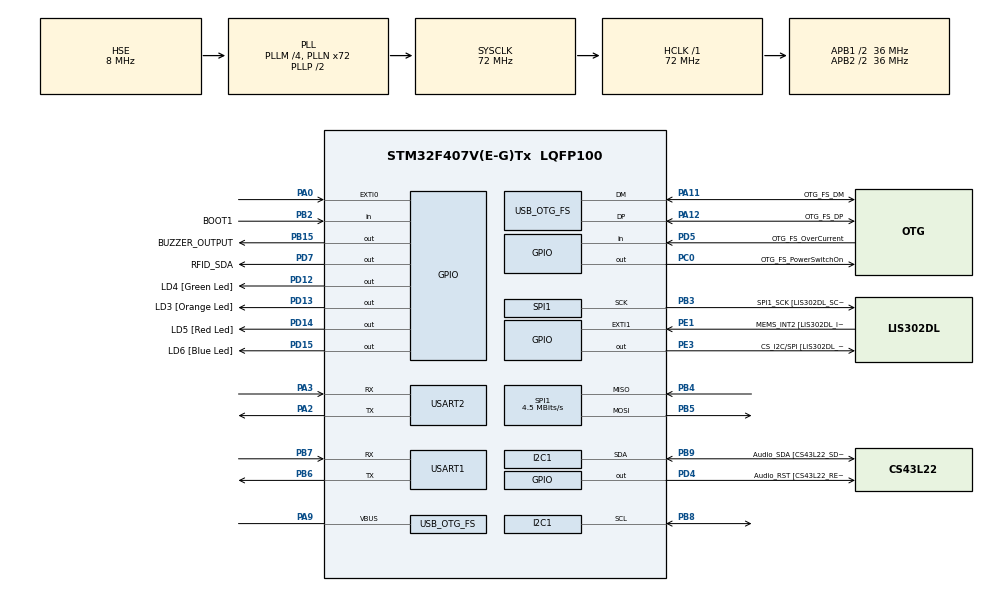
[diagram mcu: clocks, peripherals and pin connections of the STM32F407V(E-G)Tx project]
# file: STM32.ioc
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Mcu.Family=STM32F4
Mcu.Name=STM32F407V(E-G)Tx
Mcu.Package=LQFP100
NVIC.EXTI0_IRQn=true\:0\:0\:false\:false\:true\:true\:true\:true
NVIC.OTG_FS_IRQn=true\:0\:0\:false\:false\:true\:true\:true\:true
NVIC.PriorityGroup=NVIC_PRIORITYGROUP_0
NVIC.USART2_IRQn=true\:0\:0\:false\:false\:true\:true\:true\:true
PA0-WKUP.Signal=GPXTI0
PA11.GPIO_Label=OTG_FS_DM
PA11.GPIO_Mode=GPIO_MODE_AF_PP
PA11.GPIO_PuPd=GPIO_NOPULL
PA11.GPIO_Speed=GPIO_SPEED_FREQ_LOW
PA11.Mode=Host_Only
PA11.Signal=USB_OTG_FS_DM
PA12.GPIO_Label=OTG_FS_DP
PA12.GPIO_Mode=GPIO_MODE_AF_PP
PA12.GPIO_PuPd=GPIO_NOPULL
PA12.GPIO_Speed=GPIO_SPEED_FREQ_LOW
PA12.Mode=Host_Only
PA12.Signal=USB_OTG_FS_DP
PA13.GPIO_Label=SWDIO
PA13.Mode=Serial_Wire
PA13.Signal=SYS_JTMS-SWDIO
PA14.GPIO_Label=SWCLK
PA14.Mode=Serial_Wire
PA14.Signal=SYS_JTCK-SWCLK
PA2.Mode=Asynchronous
PA2.Signal=USART2_TX
PA3.Mode=Asynchronous
PA3.Signal=USART2_RX
PA4.GPIO_Label=I2S3_WS [CS43L22_LRCK]
PA4.GPIO_Mode=GPIO_MODE_AF_PP
PA4.GPIO_PuPd=GPIO_NOPULL
PA4.GPIO_Speed=GPIO_SPEED_FREQ_LOW
PA4.Signal=I2S3_WS
PA9.Mode=Activate_VBUS
PA9.Signal=USB_OTG_FS_VBUS
PB10.GPIO_Label=CLK_IN [MP45DT02_CLK]
PB10.GPIO_Mode=GPIO_MODE_AF_PP
PB10.GPIO_PuPd=GPIO_NOPULL
PB10.GPIO_Speed=GPIO_SPEED_FREQ_LOW
PB10.Signal=I2S2_CK
PB15.GPIO_Label=BUZZER_OUTPUT
PB15.Signal=GPIO_Output
PB2.GPIO_Label=BOOT1
PB2.GPIO_Mode=GPIO_MODE_INPUT
PB2.GPIO_PuPd=GPIO_NOPULL
PB2.Signal=GPIO_Input
PB3.GPIO_Label=SPI1_SCK [LIS302DL_SCL/SPC]
PB3.GPIO_Mode=GPIO_MODE_AF_PP
PB3.GPIO_PuPd=GPIO_NOPULL
PB3.GPIO_Speed=GPIO_SPEED_FREQ_LOW
PB3.Mode=Full_Duplex_Master
PB3.Signal=SPI1_SCK
PB4.Mode=Full_Duplex_Master
PB4.Signal=SPI1_MISO
PB5.Mode=Full_Duplex_Master
PB5.Signal=SPI1_MOSI
PB6.Mode=Asynchronous
PB6.Signal=USART1_TX
PB7.Mode=Asynchronous
PB7.Signal=USART1_RX
PB8.Mode=I2C
PB8.Signal=I2C1_SCL
PB9.GPIO_Label=Audio_SDA [CS43L22_SDA]
PB9.GPIO_Mode=GPIO_MODE_AF_OD
PB9.GPIO_Pu=GPIO_PULLUP
PB9.GPIO_PuPd=GPIO_NOPULL
PB9.GPIO_Speed=GPIO_SPEED_FREQ_LOW
PB9.Mode=I2C
PB9.Signal=I2C1_SDA
PC0.GPIO_Label=OTG_FS_PowerSwitchOn
PC0.GPIO_PuPd=GPIO_NOPULL
PC0.GPIO_Speed=GPIO_SPEED_FREQ_LOW
PC0.PinState=GPIO_PIN_SET
PC0.Signal=GPIO_Output
PC10.GPIO_Label=I2S3_SCK [CS43L22_SCLK]
PC10.GPIO_Mode=GPIO_MODE_AF_PP
PC10.GPIO_PuPd=GPIO_NOPULL
PC10.GPIO_Speed=GPIO_SPEED_FREQ_LOW
PC10.Signal=I2S3_CK
PC12.GPIO_Label=I2S3_SD [CS43L22_SDIN]
PC12.GPIO_Mode=GPIO_MODE_AF_PP
PC12.GPIO_PuPd=GPIO_NOPULL
PC12.GPIO_Speed=GPIO_SPEED_FREQ_LOW
PC12.Signal=I2S3_SD
PC14-OSC32_IN.GPIO_Label=PC14-OSC32_IN
PC14-OSC32_IN.Signal=RCC_OSC32_IN
PC15-OSC32_OUT.GPIO_Label=PC15-OSC32_OUT
PC15-OSC32_OUT.Signal=RCC_OSC32_OUT
PC3.GPIO_Label=PDM_OUT [MP45DT02_DOUT]
PC3.GPIO_Mode=GPIO_MODE_AF_PP
PC3.GPIO_PuPd=GPIO_NOPULL
PC3.GPIO_Speed=GPIO_SPEED_FREQ_LOW
PC3.Signal=I2S2_SD
PC7.GPIO_Label=I2S3_MCK [CS43L22_MCLK]
PC7.GPIO_Mode=GPIO_MODE_AF_PP
PC7.GPIO_PuPd=GPIO_NOPULL
PC7.GPIO_Speed=GPIO_SPEED_FREQ_LOW
PC7.Signal=I2S3_MCK
PD12.GPIO_Label=LD4 [Green Led]
PD12.GPIO_PuPd=GPIO_NOPULL
PD12.GPIO_Speed=GPIO_SPEED_FREQ_LOW
PD12.Signal=GPIO_Output
PD13.GPIO_Label=LD3 [Orange Led]
PD13.GPIO_PuPd=GPIO_NOPULL
PD13.GPIO_Speed=GPIO_SPEED_FREQ_LOW
PD13.Signal=GPIO_Output
PD14.GPIO_Label=LD5 [Red Led]
PD14.GPIO_PuPd=GPIO_NOPULL
PD14.GPIO_Speed=GPIO_SPEED_FREQ_LOW
PD14.Signal=GPIO_Output
PD15.GPIO_Label=LD6 [Blue Led]
PD15.GPIO_PuPd=GPIO_NOPULL
PD15.GPIO_Speed=GPIO_SPEED_FREQ_LOW
PD15.Signal=GPIO_Output
PD4.GPIO_Label=Audio_RST [CS43L22_RESET]
PD4.GPIO_PuPd=GPIO_NOPULL
PD4.GPIO_Speed=GPIO_SPEED_FREQ_LOW
PD4.Signal=GPIO_Output
PD5.GPIO_Label=OTG_FS_OverCurrent
PD5.GPIO_Mode=GPIO_MODE_INPUT
PD5.GPIO_PuPd=GPIO_NOPULL
PD5.Signal=GPIO_Input
PD7.GPIO_Label=RFID_SDA
PD7.Signal=GPIO_Output
PE1.GPIO_Label=MEMS_INT2 [LIS302DL_INT2]
PE1.GPIO_ModeDefaultEXTI=GPIO_MODE_EVT_RISING
PE1.GPIO_PuPd=GPIO_NOPULL
PE1.Signal=GPXTI1
PE3.GPIO_Label=CS_I2C/SPI [LIS302DL_CS_I2C/SPI]
PE3.GPIO_PuPd=GPIO_NOPULL
PE3.GPIO_Speed=GPIO_SPEED_FREQ_LOW
PE3.Signal=GPIO_Output
PH0-OSC_IN.GPIO_Label=PH0-OSC_IN
PH0-OSC_IN.Mode=HSE-External-Oscillator
PH0-OSC_IN.Signal=RCC_OSC_IN
PH1-OSC_OUT.GPIO_Label=PH1-OSC_OUT
PH1-OSC_OUT.Mode=HSE-External-Oscillator
PH1-OSC_OUT.Signal=RCC_OSC_OUT
ProjectManager.HeapSize=0x200
ProjectManager.StackSize=0x400
ProjectManager.TargetToolchain=STM32CubeIDE
RCC.48MHZClocksFreq_Value=48000000
RCC.AHBFreq_Value=72000000
RCC.APB1CLKDivider=RCC_HCLK_DIV2
RCC.APB1Freq_Value=36000000
RCC.APB1TimFreq_Value=72000000
RCC.APB2CLKDivider=RCC_HCLK_DIV2
RCC.APB2Freq_Value=36000000
RCC.APB2TimFreq_Value=72000000
RCC.CortexFreq_Value=72000000
RCC.HCLKFreq_Value=72000000
RCC.HSE_VALUE=8000000
RCC.HSI_VALUE=16000000
RCC.LSE_VALUE=32768
RCC.PLLI2SN=50
RCC.PLLM=4
RCC.PLLN=72
RCC.PLLQ=3
RCC.SYSCLKFreq_VALUE=72000000
RCC.SYSCLKSource=RCC_SYSCLKSOURCE_PLLCLK
RCC.VCOOutputFreq_Value=144000000
SPI1.BaudRatePrescaler=SPI_BAUDRATEPRESCALER_8
SPI1.CalculateBaudRate=4.5 MBits/s
SPI1.Direction=SPI_DIRECTION_2LINES
SPI1.Mode=SPI_MODE_MASTER
SPI1.VirtualType=VM_MASTER
USART1.VirtualMode=VM_ASYNC
USART2.VirtualMode=VM_ASYNC
USB_HOST.BSP.number=1
USB_HOST.USBH_HandleTypeDef-CDC_FS=hUsbHostFS
USB_HOST.VirtualModeFS=Cdc
USB_HOST0.BSP.STBoard=false
USB_HOST0.BSP.api=Unknown
USB_HOST0.BSP.instance=PC0
USB_HOST0.BSP.ip=GPIO
USB_HOST0.BSP.mode=Output
USB_HOST0.BSP.name=Drive_VBUS_FS
USB_HOST0.BSP.solution=PC0
USB_OTG_FS.VirtualMode=Host_Only
USB_OTG_FS.phy_itface=HCD_PHY_EMBEDDED
VP_USB_HOST_VS_USB_HOST_CDC_FS.Mode=CDC_FS
board=STM32F407G-DISC1

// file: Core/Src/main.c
/* USER CODE BEGIN Header */
/**
 * AURHOR: MERT ELDEMIR
 *
 * This software is licensed under terms that can be found in the LICENSE file
 * in the root directory of this software component.
 * If no LICENSE file comes with this software, it is provided AS-IS.
 *
 ******************************************************************************
 */
/* USER CODE END Header */
#include "main.h"
#include "usb_host.h"

/* USER CODE BEGIN Includes */
#include "stdio.h"
#include "string.h"

#include "defines.h"
#include "MFRC522.h"
#include "lcd_util.h"
#include "buzzer_util.h"

/* USER CODE END Includes */

I2C_HandleTypeDef hi2c1;

SPI_HandleTypeDef hspi1;

UART_HandleTypeDef huart1;
UART_HandleTypeDef huart2;

void SystemClock_Config(void);
static void MX_GPIO_Init(void);
static void MX_SPI1_Init(void);
static void MX_USART1_UART_Init(void);
static void MX_I2C1_Init(void);
static void MX_USART2_UART_Init(void);
void MX_USB_HOST_Process(void);

/* USER CODE BEGIN 0 */

// MFRC522 GLOBAL VARIABLES
MFRC522_Status_t status;
uint8_t CardUID[5];

uint8_t TempCardUID[4];
char TempCardHexStr[12];
char LastCardHexStr[12];

// RFID MODE & SERIAL STATUS settings

SERIAL_Status Serial_Status = SERIAL_PENDING;

char HEARTBEAT_CODE[] = "STM32PY"; // Serial AUTH code
uint32_t LastReceivedHbTime = 0;
uint32_t hbReceiveCount = 0;

// Serial Receive buffer settings
uint8_t rxByte;
uint8_t rxBuffer[MAX_RX_BUFFER_SIZE];
uint8_t rxIndex = 0;

// RFID MODULE SETTINGS
RFID_Mode Rfid_Mode = RFID_READ;
uint8_t isRfidModeBtnPressed = 0;

uint32_t lastLcdMessageTime = 0;
uint8_t isLcdResetted = 1;

// Buzzer States
uint8_t isBuzzerBeep = 0;
uint8_t isBuzzerSaveBeep = 0;
uint8_t isBuzzerNotFoundBeep = 0;

void ResetAllLedsSTM();
void SetRfidModeLED();

// PROGRAM SERIAL STATES
void SetSerialPengingState() {
	Serial_Status = SERIAL_PENDING;
	HAL_GPIO_WritePin(STM_LED_PORT, SERIAL_PENGING_LED_PIN, GPIO_PIN_SET);
	printSerialWaitingMessage();
}

void SetSerialErrorState() {
	Serial_Status = SERIAL_ERR;
	HAL_UART_AbortReceive_IT(&huart2);
	memset(LastCardHexStr, 0, sizeof(LastCardHexStr));
	memset(rxBuffer, 0, sizeof(rxBuffer));
	ResetAllLedsSTM();
	HAL_GPIO_WritePin(STM_LED_PORT, SERIAL_ERR_LED_PIN, GPIO_PIN_SET);
	printSerialErrorMessage();
	SerialErrBeep();
}

void SetSerialOkayState() {
	Serial_Status = SERIAL_OK;
	ResetAllLedsSTM();
	SetRfidModeLED();
	printRfidModeMessage(Rfid_Mode);
	SerialOkBeep();
}

void WaitStartupHeartbeatSerial() {
	uint32_t startTime = HAL_GetTick();
	uint8_t remainingSec = 9;

	while ((HAL_GetTick() - startTime) < 10000) {
		if (HAL_UART_Receive(&huart2, rxBuffer, 10, 100) == HAL_OK) {
			// HB received
			char *msg = (char*) &rxBuffer[2];
			char *newline = strchr(msg, '\n');
			if (newline) {
				*newline = '\0';
			}

			if (strcmp(msg, HEARTBEAT_CODE) == 0) {
				LastReceivedHbTime = HAL_GetTick();
				++hbReceiveCount;
				SetSerialOkayState();
				memset(rxBuffer, 0, sizeof(rxBuffer));
				return;
			}
		}

		printSerialWaitingTimer(remainingSec);
		remainingSec = 9 - ((HAL_GetTick() - startTime) / 1000);
	}

	// No HB found
	SetSerialErrorState();
}

// RFID Mode Operations
void SetRfidModeLED() {
	if (Rfid_Mode == RFID_SAVE) {
		HAL_GPIO_WritePin(STM_LED_PORT, RFID_SAVE_LED_PIN, GPIO_PIN_SET);
	} else if (Rfid_Mode == RFID_READ) {
		HAL_GPIO_WritePin(STM_LED_PORT, RFID_READ_LED_PIN, GPIO_PIN_SET);
	}
}

void ResetAllLedsSTM() {
	HAL_GPIO_WritePin(STM_LED_PORT, RFID_READ_LED_PIN, GPIO_PIN_RESET);
	HAL_GPIO_WritePin(STM_LED_PORT, RFID_SAVE_LED_PIN, GPIO_PIN_RESET);
	HAL_GPIO_WritePin(STM_LED_PORT, SERIAL_PENGING_LED_PIN, GPIO_PIN_RESET);
	HAL_GPIO_WritePin(STM_LED_PORT, SERIAL_ERR_LED_PIN, GPIO_PIN_RESET);
}

void ToggleRfidMode() {
	if (Serial_Status != SERIAL_OK) {
		return;
	}

	Rfid_Mode = (Rfid_Mode + 1) % 2;
	ResetAllLedsSTM();
	SetRfidModeLED();
}

// Interrupt Callbacks

// Blue button push
void HAL_GPIO_EXTI_Callback(uint16_t GPIO_Pin) {
	if (GPIO_Pin == GPIO_PIN_0 && Serial_Status == SERIAL_OK) {
		ToggleRfidMode();
		printRfidModeMessage(Rfid_Mode);
		isRfidModeBtnPressed = 1;
	}
}

// Serial messages & responses
void HAL_UART_RxCpltCallback(UART_HandleTypeDef *huart) {
	if (huart->Instance == USART2) {
		if (rxByte != '\n' && rxIndex < MAX_RX_BUFFER_SIZE - 1) {
			rxBuffer[rxIndex++] = rxByte;
		} else {
			// Null-terminate the message
			rxBuffer[rxIndex] = '\0';
			rxIndex = 0;

			// Check message format: CODE|DATA\0
			if (rxBuffer[1] != '|') {
				// Invalid format
				HAL_UART_Receive_IT(&huart2, &rxByte, 1);
				return;
			}

			char code = rxBuffer[0];
			char *msg = (char*) &rxBuffer[2];

			switch (code) {
			case 'H':
				if (strcmp(msg, HEARTBEAT_CODE) == 0) {
					LastReceivedHbTime = HAL_GetTick();
					++hbReceiveCount;
					printf("msg: %s\n", msg);
				}
				break;

			case 'R':
				if (strcmp(msg, "ERR") == 0) {
					printUserNotFound();
					isBuzzerNotFoundBeep = 1;
				} else {
					printSerialReadResponse(msg);
					isBuzzerBeep = 1;
				}

				isLcdResetted = 0;
				lastLcdMessageTime = HAL_GetTick();
				break;

			case 'S':
				if (strcmp(msg, "OK") == 0) {
					printSerialSavedUID(TempCardHexStr);
					isBuzzerSaveBeep = 1;
				} else if (strcmp(msg, "DUP") == 0) {
					printDuplicateSave();
					isBuzzerNotFoundBeep = 1;
				} else {
					printSavingWentWrong();
				}

				isLcdResetted = 0;
				lastLcdMessageTime = HAL_GetTick();
				break;
			}

			memset(rxBuffer, 0, 32);
		}

		// interrupt for next byte
		HAL_UART_Receive_IT(&huart2, &rxByte, 1);
	}
}

/* USER CODE END 0 */

int main(void) {

	/* MCU Configuration--------------------------------------------------------*/

	/* Reset of all peripherals, Initializes the Flash interface and the Systick. */
	HAL_Init();

	/* Configure the system clock */
	SystemClock_Config();

	/* Initialize all configured peripherals */
	MX_GPIO_Init();
	MX_SPI1_Init();
	MX_USB_HOST_Init();
	MX_USART1_UART_Init();
	MX_I2C1_Init();
	MX_USART2_UART_Init();
	/* USER CODE BEGIN 2 */
	HAL_UART_Init(&huart2);
	MFRC522_Init(); 		// RFID Module
	lcd_init(); 			// LCD Module

// FIRST STARTUP FUNCTIONS
	printWelcomeMessage();
	HAL_Delay(2000);

// start Heartbeat receive handler before run the main program
	SetSerialPengingState();
	WaitStartupHeartbeatSerial();

	HAL_UART_Receive_IT(&huart2, rxBuffer, 1);

// e.g. str = 1 D6 97 71 AF rfidModePrefix = "1" -> SAVE
// e.g. str = 0 D6 97 71 AF rfidModePrefix = "0" -> READ
	char SerialSendStr[14];
	char rfidModePrefix[2]; // "1 " -> SAVE | "0 " -> READ

	/* USER CODE END 2 */

	/* Infinite loop */
	/* USER CODE BEGIN WHILE */
	while (1) {
		// STATE CONTROLS

		// Buzzer sound states
		if (isBuzzerBeep) {
			Beep();
			isBuzzerBeep = 0;
		} else if (isBuzzerNotFoundBeep) {
			UserNotFoundBeep();
			isBuzzerNotFoundBeep = 0;
		} else if (isBuzzerSaveBeep) {
			UserSavedBeep();
			isBuzzerSaveBeep = 0;
		}

		if (Serial_Status != SERIAL_OK) {
			HAL_GPIO_TogglePin(STM_LED_PORT, SERIAL_ERR_LED_PIN);
			HAL_Delay(300);
			continue;
		}

		// chech Heartbeat
		if ((HAL_GetTick() - LastReceivedHbTime) > HEARTBEAT_TIMEOUT_MS) {
			SetSerialErrorState();
			continue;
		}

		// Reset LCD
		if (isLcdResetted
				!= 1&& (HAL_GetTick() - lastLcdMessageTime) > LCD_MESSAGE_TIME_MS) {
			printRfidModeMessage(Rfid_Mode);
			isLcdResetted = 1;
		}

		if (isRfidModeBtnPressed == 1) {
			memset(LastCardHexStr, 0, sizeof(LastCardHexStr)); // Reset last read UID
			Beep();
			HAL_Delay(200);
			isRfidModeBtnPressed = 0;
		}

		// MAIN RFID LOGIC

		// Check if card is presented
		if (MFRC522_Check(CardUID) == MI_OK) {
			memcpy(TempCardUID, CardUID, 4);

			snprintf(TempCardHexStr, sizeof(TempCardHexStr),
					"%02X %02X %02X %02X", TempCardUID[0], TempCardUID[1],
					TempCardUID[2], TempCardUID[3]);

			// if new card not detected
			if (strcmp(LastCardHexStr, TempCardHexStr) == 0) {
				continue;
			}

			strcpy(LastCardHexStr, TempCardHexStr);

			// prepare string to send via UART
			if (Rfid_Mode == RFID_READ) {
				rfidModePrefix[0] = '0';
			} else if (Rfid_Mode == RFID_SAVE) {
				rfidModePrefix[0] = '1';
			}
			rfidModePrefix[1] = ' ';

			snprintf(SerialSendStr, sizeof(SerialSendStr), "%s%s",
					rfidModePrefix, TempCardHexStr);

			HAL_UART_Transmit(&huart2, (uint8_t*) SerialSendStr,
					strlen(SerialSendStr), 100);

			// lcd_clear();
			// lcd_put_cur(0, 0);
			// lcd_send_string("CARD UID:");
			// lcd_put_cur(1, 0);
			// lcd_send_string(TempCardHexStr);
		}

		/* USER CODE END WHILE */
		MX_USB_HOST_Process();

	}
}

void SystemClock_Config(void) {
	RCC_OscInitTypeDef RCC_OscInitStruct = { 0 };
	RCC_ClkInitTypeDef RCC_ClkInitStruct = { 0 };

	/** Configure the main internal regulator output voltage
	 */
	__HAL_RCC_PWR_CLK_ENABLE();
	__HAL_PWR_VOLTAGESCALING_CONFIG(PWR_REGULATOR_VOLTAGE_SCALE1);

	/** Initializes the RCC Oscillators according to the specified parameters
	 * in the RCC_OscInitTypeDef structure.
	 */
	RCC_OscInitStruct.OscillatorType = RCC_OSCILLATORTYPE_HSE;
	RCC_OscInitStruct.HSEState = RCC_HSE_ON;
	RCC_OscInitStruct.PLL.PLLState = RCC_PLL_ON;
	RCC_OscInitStruct.PLL.PLLSource = RCC_PLLSOURCE_HSE;
	RCC_OscInitStruct.PLL.PLLM = 4;
	RCC_OscInitStruct.PLL.PLLN = 72;
	RCC_OscInitStruct.PLL.PLLP = RCC_PLLP_DIV2;
	RCC_OscInitStruct.PLL.PLLQ = 3;
	if (HAL_RCC_OscConfig(&RCC_OscInitStruct) != HAL_OK) {
		Error_Handler();
	}

	/** Initializes the CPU, AHB and APB buses clocks
	 */
	RCC_ClkInitStruct.ClockType = RCC_CLOCKTYPE_HCLK | RCC_CLOCKTYPE_SYSCLK
			| RCC_CLOCKTYPE_PCLK1 | RCC_CLOCKTYPE_PCLK2;
	RCC_ClkInitStruct.SYSCLKSource = RCC_SYSCLKSOURCE_PLLCLK;
	RCC_ClkInitStruct.AHBCLKDivider = RCC_SYSCLK_DIV1;
	RCC_ClkInitStruct.APB1CLKDivider = RCC_HCLK_DIV2;
	RCC_ClkInitStruct.APB2CLKDivider = RCC_HCLK_DIV2;

	if (HAL_RCC_ClockConfig(&RCC_ClkInitStruct, FLASH_LATENCY_2) != HAL_OK) {
		Error_Handler();
	}
}

static void MX_I2C1_Init(void) {

	hi2c1.Instance = I2C1;
	hi2c1.Init.ClockSpeed = 100000;
	hi2c1.Init.DutyCycle = I2C_DUTYCYCLE_2;
	hi2c1.Init.OwnAddress1 = 0;
	hi2c1.Init.AddressingMode = I2C_ADDRESSINGMODE_7BIT;
	hi2c1.Init.DualAddressMode = I2C_DUALADDRESS_DISABLE;
	hi2c1.Init.OwnAddress2 = 0;
	hi2c1.Init.GeneralCallMode = I2C_GENERALCALL_DISABLE;
	hi2c1.Init.NoStretchMode = I2C_NOSTRETCH_DISABLE;
	if (HAL_I2C_Init(&hi2c1) != HAL_OK) {
		Error_Handler();
	}

}

static void MX_SPI1_Init(void) {

	/* SPI1 parameter configuration*/
	hspi1.Instance = SPI1;
	hspi1.Init.Mode = SPI_MODE_MASTER;
	hspi1.Init.Direction = SPI_DIRECTION_2LINES;
	hspi1.Init.DataSize = SPI_DATASIZE_8BIT;
	hspi1.Init.CLKPolarity = SPI_POLARITY_LOW;
	hspi1.Init.CLKPhase = SPI_PHASE_1EDGE;
	hspi1.Init.NSS = SPI_NSS_SOFT;
	hspi1.Init.BaudRatePrescaler = SPI_BAUDRATEPRESCALER_8;
	hspi1.Init.FirstBit = SPI_FIRSTBIT_MSB;
	hspi1.Init.TIMode = SPI_TIMODE_DISABLE;
	hspi1.Init.CRCCalculation = SPI_CRCCALCULATION_DISABLE;
	hspi1.Init.CRCPolynomial = 10;
	if (HAL_SPI_Init(&hspi1) != HAL_OK) {
		Error_Handler();
	}

}

static void MX_USART1_UART_Init(void) {

	huart1.Instance = USART1;
	huart1.Init.BaudRate = 115200;
	huart1.Init.WordLength = UART_WORDLENGTH_8B;
	huart1.Init.StopBits = UART_STOPBITS_1;
	huart1.Init.Parity = UART_PARITY_NONE;
	huart1.Init.Mode = UART_MODE_TX_RX;
	huart1.Init.HwFlowCtl = UART_HWCONTROL_NONE;
	huart1.Init.OverSampling = UART_OVERSAMPLING_16;
	if (HAL_UART_Init(&huart1) != HAL_OK) {
		Error_Handler();
	}

}

static void MX_USART2_UART_Init(void) {

	huart2.Instance = USART2;
	huart2.Init.BaudRate = 115200;
	huart2.Init.WordLength = UART_WORDLENGTH_8B;
	huart2.Init.StopBits = UART_STOPBITS_1;
	huart2.Init.Parity = UART_PARITY_NONE;
	huart2.Init.Mode = UART_MODE_TX_RX;
	huart2.Init.HwFlowCtl = UART_HWCONTROL_NONE;
	huart2.Init.OverSampling = UART_OVERSAMPLING_16;
	if (HAL_UART_Init(&huart2) != HAL_OK) {
		Error_Handler();
	}

}

static void MX_GPIO_Init(void) {
	GPIO_InitTypeDef GPIO_InitStruct = { 0 };

	/* GPIO Ports Clock Enable */
	__HAL_RCC_GPIOE_CLK_ENABLE();
	__HAL_RCC_GPIOC_CLK_ENABLE();
	__HAL_RCC_GPIOH_CLK_ENABLE();
	__HAL_RCC_GPIOA_CLK_ENABLE();
	__HAL_RCC_GPIOB_CLK_ENABLE();
	__HAL_RCC_GPIOD_CLK_ENABLE();

	/*Configure GPIO pin Output Level */
	HAL_GPIO_WritePin(CS_I2C_SPI_GPIO_Port, CS_I2C_SPI_Pin, GPIO_PIN_RESET);

	/*Configure GPIO pin Output Level */
	HAL_GPIO_WritePin(OTG_FS_PowerSwitchOn_GPIO_Port, OTG_FS_PowerSwitchOn_Pin,
			GPIO_PIN_SET);

	/*Configure GPIO pin Output Level */
	HAL_GPIO_WritePin(BUZZER_OUTPUT_GPIO_Port, BUZZER_OUTPUT_Pin,
			GPIO_PIN_RESET);

	/*Configure GPIO pin Output Level */
	HAL_GPIO_WritePin(GPIOD,
	LD4_Pin | LD3_Pin | LD5_Pin | LD6_Pin | Audio_RST_Pin | RFID_SDA_Pin,
			GPIO_PIN_RESET);

	/*Configure GPIO pin : CS_I2C_SPI_Pin */
	GPIO_InitStruct.Pin = CS_I2C_SPI_Pin;
	GPIO_InitStruct.Mode = GPIO_MODE_OUTPUT_PP;
	GPIO_InitStruct.Pull = GPIO_NOPULL;
	GPIO_InitStruct.Speed = GPIO_SPEED_FREQ_LOW;
	HAL_GPIO_Init(CS_I2C_SPI_GPIO_Port, &GPIO_InitStruct);

	/*Configure GPIO pin : OTG_FS_PowerSwitchOn_Pin */
	GPIO_InitStruct.Pin = OTG_FS_PowerSwitchOn_Pin;
	GPIO_InitStruct.Mode = GPIO_MODE_OUTPUT_PP;
	GPIO_InitStruct.Pull = GPIO_NOPULL;
	GPIO_InitStruct.Speed = GPIO_SPEED_FREQ_LOW;
	HAL_GPIO_Init(OTG_FS_PowerSwitchOn_GPIO_Port, &GPIO_InitStruct);

	/*Configure GPIO pin : PDM_OUT_Pin */
	GPIO_InitStruct.Pin = PDM_OUT_Pin;
	GPIO_InitStruct.Mode = GPIO_MODE_AF_PP;
	GPIO_InitStruct.Pull = GPIO_NOPULL;
	GPIO_InitStruct.Speed = GPIO_SPEED_FREQ_LOW;
	GPIO_InitStruct.Alternate = GPIO_AF5_SPI2;
	HAL_GPIO_Init(PDM_OUT_GPIO_Port, &GPIO_InitStruct);

	/*Configure GPIO pin : PA0 */
	GPIO_InitStruct.Pin = GPIO_PIN_0;
	GPIO_InitStruct.Mode = GPIO_MODE_IT_RISING;
	GPIO_InitStruct.Pull = GPIO_NOPULL;
	HAL_GPIO_Init(GPIOA, &GPIO_InitStruct);

	/*Configure GPIO pin : I2S3_WS_Pin */
	GPIO_InitStruct.Pin = I2S3_WS_Pin;
	GPIO_InitStruct.Mode = GPIO_MODE_AF_PP;
	GPIO_InitStruct.Pull = GPIO_NOPULL;
	GPIO_InitStruct.Speed = GPIO_SPEED_FREQ_LOW;
	GPIO_InitStruct.Alternate = GPIO_AF6_SPI3;
	HAL_GPIO_Init(I2S3_WS_GPIO_Port, &GPIO_InitStruct);

	/*Configure GPIO pin : BOOT1_Pin */
	GPIO_InitStruct.Pin = BOOT1_Pin;
	GPIO_InitStruct.Mode = GPIO_MODE_INPUT;
	GPIO_InitStruct.Pull = GPIO_NOPULL;
	HAL_GPIO_Init(BOOT1_GPIO_Port, &GPIO_InitStruct);

	/*Configure GPIO pin : CLK_IN_Pin */
	GPIO_InitStruct.Pin = CLK_IN_Pin;
	GPIO_InitStruct.Mode = GPIO_MODE_AF_PP;
	GPIO_InitStruct.Pull = GPIO_NOPULL;
	GPIO_InitStruct.Speed = GPIO_SPEED_FREQ_LOW;
	GPIO_InitStruct.Alternate = GPIO_AF5_SPI2;
	HAL_GPIO_Init(CLK_IN_GPIO_Port, &GPIO_InitStruct);

	/*Configure GPIO pin : BUZZER_OUTPUT_Pin */
	GPIO_InitStruct.Pin = BUZZER_OUTPUT_Pin;
	GPIO_InitStruct.Mode = GPIO_MODE_OUTPUT_PP;
	GPIO_InitStruct.Pull = GPIO_NOPULL;
	GPIO_InitStruct.Speed = GPIO_SPEED_FREQ_LOW;
	HAL_GPIO_Init(BUZZER_OUTPUT_GPIO_Port, &GPIO_InitStruct);

	/*Configure GPIO pins : LD4_Pin LD3_Pin LD5_Pin LD6_Pin
	 Audio_RST_Pin RFID_SDA_Pin */
	GPIO_InitStruct.Pin = LD4_Pin | LD3_Pin | LD5_Pin | LD6_Pin | Audio_RST_Pin
			| RFID_SDA_Pin;
	GPIO_InitStruct.Mode = GPIO_MODE_OUTPUT_PP;
	GPIO_InitStruct.Pull = GPIO_NOPULL;
	GPIO_InitStruct.Speed = GPIO_SPEED_FREQ_LOW;
	HAL_GPIO_Init(GPIOD, &GPIO_InitStruct);

	/*Configure GPIO pins : I2S3_MCK_Pin I2S3_SCK_Pin I2S3_SD_Pin */
	GPIO_InitStruct.Pin = I2S3_MCK_Pin | I2S3_SCK_Pin | I2S3_SD_Pin;
	GPIO_InitStruct.Mode = GPIO_MODE_AF_PP;
	GPIO_InitStruct.Pull = GPIO_NOPULL;
	GPIO_InitStruct.Speed = GPIO_SPEED_FREQ_LOW;
	GPIO_InitStruct.Alternate = GPIO_AF6_SPI3;
	HAL_GPIO_Init(GPIOC, &GPIO_InitStruct);

	/*Configure GPIO pin : OTG_FS_OverCurrent_Pin */
	GPIO_InitStruct.Pin = OTG_FS_OverCurrent_Pin;
	GPIO_InitStruct.Mode = GPIO_MODE_INPUT;
	GPIO_InitStruct.Pull = GPIO_NOPULL;
	HAL_GPIO_Init(OTG_FS_OverCurrent_GPIO_Port, &GPIO_InitStruct);

	/*Configure GPIO pin : MEMS_INT2_Pin */
	GPIO_InitStruct.Pin = MEMS_INT2_Pin;
	GPIO_InitStruct.Mode = GPIO_MODE_EVT_RISING;
	GPIO_InitStruct.Pull = GPIO_NOPULL;
	HAL_GPIO_Init(MEMS_INT2_GPIO_Port, &GPIO_InitStruct);

	/* EXTI interrupt init*/
	HAL_NVIC_SetPriority(EXTI0_IRQn, 0, 0);
	HAL_NVIC_EnableIRQ(EXTI0_IRQn);

}

/* USER CODE BEGIN 4 */
int _write(int file, char *ptr, int len) {
	(void) file;
	int DataIdx;

	for (DataIdx = 0; DataIdx < len; DataIdx++) {
		ITM_SendChar(*ptr++);
	}
	return len;
}

/* USER CODE END 4 */

void Error_Handler(void) {
	__disable_irq();
	while (1) {
	}
}
